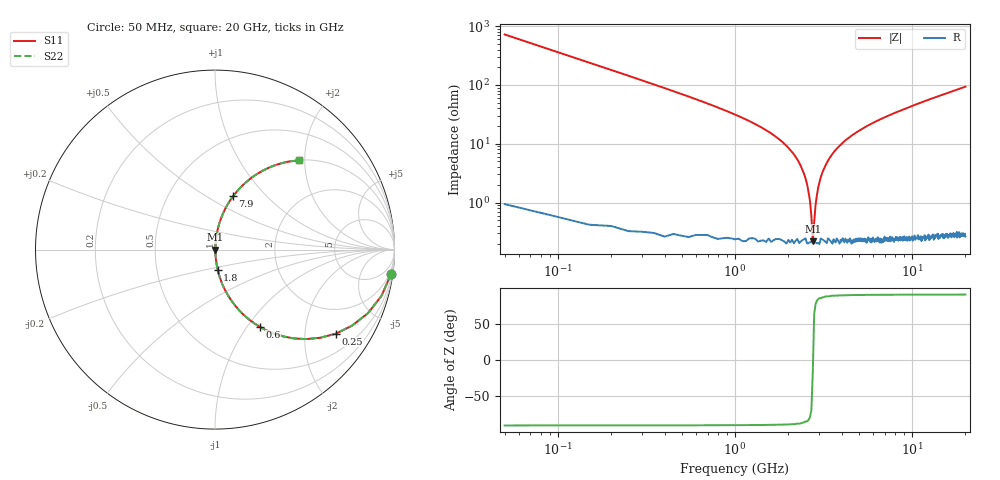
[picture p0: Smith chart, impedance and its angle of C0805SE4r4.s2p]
! AVX Thin Film Operation		Date: April 2012
! Description: Accu-P® Series, Thin Film, SMD, RF Capacitor
! Part Number: 08051J4R4ABTTR
!	50	MHz	-	20.05	GHz
!	Serial	Measurements
#	MHZ	S	MA	R	50
!	S11	S21	S12	S22
!	dB	Phase	dB	Phase	dB	Phase	dB	Phase
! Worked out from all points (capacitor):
!   400 points, 50 MHz to 20 GHz, reference 50 ohm
!   read as one part in series: C = 4.4 pF near 150 MHz
!   lowest |Z| = 220 mohm at 2.75 GHz (marker M1)
!   series resonance near 2.757 GHz, so ESL is about 760 pH
!   S11 on the Smith chart (normalised r, x): 50 MHz: 1, -14; 250 MHz: 1.00, -2.87; 600 MHz: 1.01, -1.15; 1.8 GHz: 1.00, -0.23; 7.9 GHz: 1.00, +0.66; 20 GHz: 1.00, +1.87
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50  0.99 -7.9  0.137 82.1  0.137 82.1  0.99 -7.9
150  0.923 -22.6  0.384 67.3  0.384 67.3  0.923 -22.6
250  0.82 -34.8  0.571 55.0  0.571 55.0  0.82 -34.8
600  0.497 -59.9  0.865 29.8  0.865 29.8  0.497 -59.9
1000  0.299 -72.2  0.952 17.4  0.952 17.4  0.299 -72.2
1800  0.114 -82.3  0.991 6.6  0.991 6.6  0.114 -82.3
2250  0.054 -84.6  0.996 3.1  0.996 3.1  0.054 -84.6
2500  0.026 -83.6  0.997 1.5  0.997 1.5  0.026 -83.6
2650  0.011 -77.3  0.998 0.6  0.998 0.6  0.011 -77.3
2700  0.005859 -67.5  0.998 0.3  0.998 0.3  0.005859 -67.5
2750  0.002296 -15.6  0.998 0.0  0.998 0.0  0.002296 -15.6
2850  0.00901 75.3  0.998 -0.5  0.998 -0.5  0.00901 75.3
2950  0.018 81.9  0.998 -1.0  0.998 -1.0  0.018 81.9
3100  0.031 84.1  0.997 -1.8  0.997 -1.8  0.031 84.1
3400  0.055 84.5  0.996 -3.2  0.996 -3.2  0.055 84.5
4550  0.136 81.3  0.989 -7.8  0.989 -7.8  0.136 81.3
6700  0.256 74.7  0.965 -14.8  0.965 -14.8  0.256 74.7
7900  0.313 71.4  0.948 -18.2  0.948 -18.2  0.313 71.4
10050  0.404 65.9  0.913 -23.8  0.913 -23.8  0.404 65.9
13350  0.519 58.5  0.853 -31.3  0.853 -31.3  0.519 58.5
16700  0.611 52.2  0.79 -37.6  0.79 -37.6  0.611 52.2
20000  0.682 46.9  0.73 -43.0  0.73 -43.0  0.682 46.9
